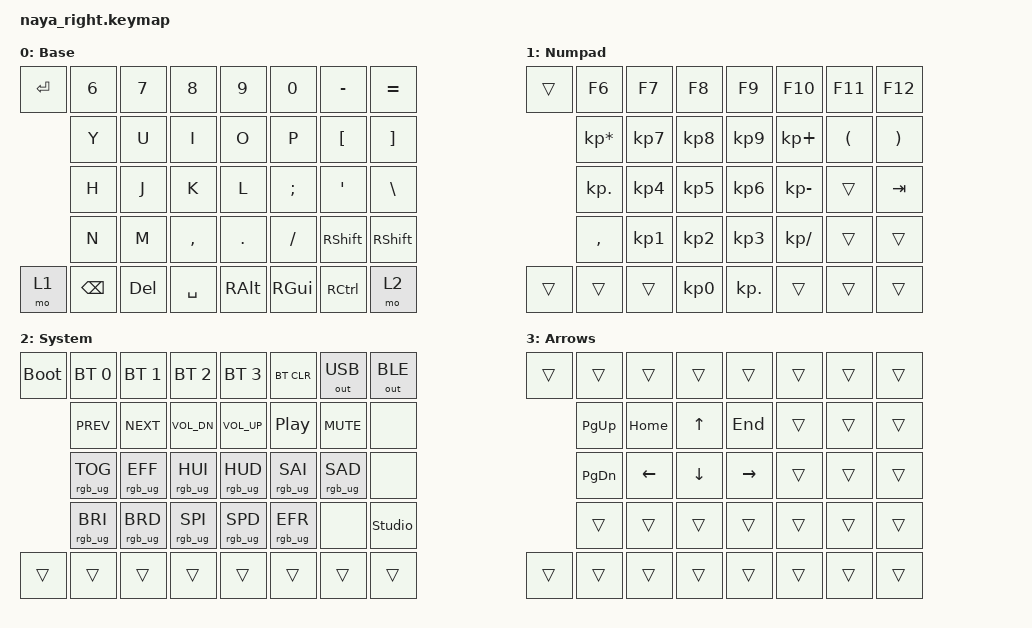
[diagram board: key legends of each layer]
/*
 * Naya Create right half - standalone ZMK keymap.
 * You can change any of this live in ZMK Studio (https://zmk.studio).
 *
 * Physical layout:
 *   Enter 6 7 8 9 0 - =
 *         Y U I O P [ ]
 *         H J K L ; ' \
 *         N M , . / Shift (7th key)
 *   S1 S2 S3 Space Alt Option Ctrl S4
 *
 * S1 = layer 1 (F-keys/numpad), S4 = layer 2 (system), S2 = Backspace, S3 = Delete.
 * LEDs (hold S4): H toggle, J next effect, K/L hue +/-, ; and ' saturation +/-,
 *                 N/M brightness +/-, , and . speed +/-, / previous effect.
 * Arrows layer: on while Scroll Lock is on (set a left-half key to Scroll Lock to switch it).
 *   I = Up, J = Left, K = Down, L = Right, U = Home, O = End, Y = Page Up, H = Page Down.
 * Bootloader: hold S4 + tap Enter.   Studio unlock: hold S4 + tap the 7th key of the "N M" row.
 */
#include <behaviors.dtsi>
#include <dt-bindings/zmk/keys.h>
#include <dt-bindings/zmk/bt.h>
#include <dt-bindings/zmk/outputs.h>
#include <dt-bindings/zmk/rgb.h>

/ {
    keymap {
        compatible = "zmk,keymap";

        base {
            display-name = "Base";
            bindings = <
                &kp RET  &kp N6 &kp N7 &kp N8    &kp N9  &kp N0   &kp MINUS &kp EQUAL
                         &kp Y  &kp U  &kp I     &kp O   &kp P    &kp LBKT  &kp RBKT
                &kp DEL  &kp H  &kp J  &kp K     &kp L   &kp SEMI &kp SQT   &kp BSLH
                &kp BSPC &kp N  &kp M  &kp COMMA &kp DOT &kp FSLH &kp RSHFT &kp RSHFT
                &mo 1                  &kp SPACE &kp RALT &kp RGUI &kp RCTRL &mo 2
            >;
        };

        numpad {
            display-name = "Numpad";
            bindings = <
                &trans  &kp F6     &kp F7          &kp F8    &kp F9     &kp F10       &kp F11  &kp F12
                        &kp KP_MULTIPLY &kp KP_N7  &kp KP_N8 &kp KP_N9  &kp KP_PLUS   &kp LPAR &kp RPAR
                &trans  &kp KP_DOT &kp KP_N4       &kp KP_N5 &kp KP_N6  &kp KP_MINUS  &trans   &kp TAB
                &trans  &kp COMMA  &kp KP_N1       &kp KP_N2 &kp KP_N3  &kp KP_DIVIDE &trans   &trans
                &trans                             &kp KP_N0 &kp KP_DOT &trans        &trans   &trans
            >;
        };

        system {
            display-name = "System";
            bindings = <
                &bootloader &bt BT_SEL 0 &bt BT_SEL 1 &bt BT_SEL 2 &bt BT_SEL 3 &bt BT_CLR &out OUT_USB &out OUT_BLE
                            &kp C_PREV   &kp C_NEXT   &kp C_VOL_DN &kp C_VOL_UP &kp C_PP   &kp C_MUTE   &none
                &trans      &rgb_ug RGB_TOG &rgb_ug RGB_EFF &rgb_ug RGB_HUI &rgb_ug RGB_HUD &rgb_ug RGB_SAI &rgb_ug RGB_SAD &none
                &trans      &rgb_ug RGB_BRI &rgb_ug RGB_BRD &rgb_ug RGB_SPI &rgb_ug RGB_SPD &rgb_ug RGB_EFR &none &studio_unlock
                &trans                                &trans       &trans       &trans     &trans       &trans
            >;
        };

        arrows {
            display-name = "Arrows";
            bindings = <
                &trans  &trans     &trans     &trans    &trans     &trans  &trans  &trans
                        &kp PG_UP  &kp HOME   &kp UP    &kp END    &trans  &trans  &trans
                &trans  &kp PG_DN  &kp LEFT   &kp DOWN  &kp RIGHT  &trans  &trans  &trans
                &trans  &trans     &trans     &trans    &trans     &trans  &trans  &trans
                &trans                        &trans    &trans     &trans  &trans  &trans
            >;
        };
    };
};
